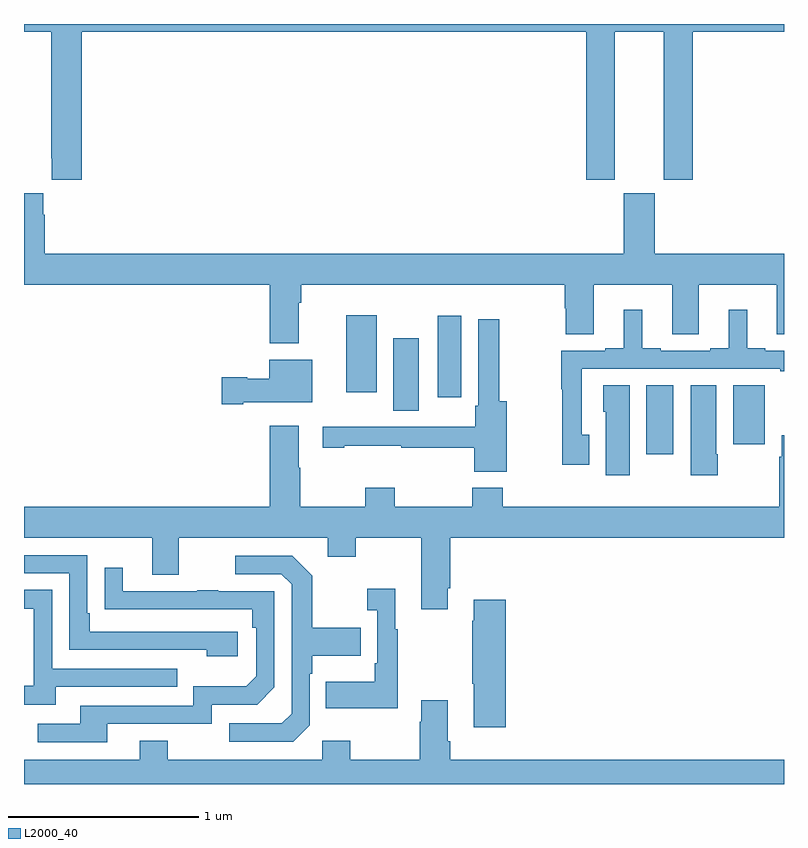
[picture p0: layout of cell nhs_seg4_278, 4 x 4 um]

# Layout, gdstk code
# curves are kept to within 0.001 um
import gdstk
lib = gdstk.Library(unit=1e-6, precision=1e-09)
def R(c, l, rs):  # rectangles x0, y0, x1, y1
    for r in rs: c.add(gdstk.rectangle(r[:2], r[2:], *l))
def P(c, l, *ps):  # polygons
    for p in ps: c.add(gdstk.Polygon(p, *l))
L2000_40 = (2000, 40)

nhs_seg4_278 = lib.new_cell('nhs_seg4_278')
R(nhs_seg4_278, L2000_40, [(128.276,754.635,128.416,755), (128.732,754.689,128.899,755), (126.944,754.864,127.078,755.245), (127.178,754.935,127.3,755.365), (126.695,754.962,126.856,755.368)])
P(nhs_seg4_278, L2000_40, [(125.303,756.86),(127.958,756.86),(127.958,756.081),(128.11,756.081),(128.11,756.86),(128.366,756.86),(128.366,756.081),(128.519,756.081),(128.519,756.86),(129,756.86),(129,756.9),(125,756.9),(125,756.86),(125.143,756.86),(125.143,756.193),(125.147,756.193),(125.147,756.081),(125.303,756.081)],
  [(125.108,755.897),(125.101,755.897),(125.101,756.01),(125,756.01),(125,755.528),(126.293,755.528),(126.293,755.219),(126.445,755.219),(126.445,755.432),(126.458,755.432),(126.458,755.528),(127.847,755.528),(127.847,755.403),(127.852,755.403),(127.852,755.266),(127.999,755.266),(127.999,755.528),(128.411,755.528),(128.411,755.266),(128.551,755.266),(128.551,755.528),(128.963,755.528),(128.963,755.266),(129,755.266),(129,755.692),(128.32,755.692),(128.32,756.009),(128.156,756.009),(128.156,755.692),(125.108,755.692)],
  [(127.975,754.737),(127.935,754.737),(127.935,755.085),(128.981,755.085),(128.981,755.073),(129,755.073),(129,755.181),(128.902,755.181),(128.902,755.194),(128.806,755.194),(128.806,755.395),(128.708,755.395),(128.708,755.194),(128.612,755.194),(128.612,755.181),(128.35,755.181),(128.35,755.194),(128.254,755.194),(128.254,755.395),(128.156,755.395),(128.156,755.194),(128.06,755.194),(128.06,755.181),(127.827,755.181),(127.827,754.978),(127.834,754.978),(127.834,754.581),(127.975,754.581)],
  [(127.54,754.915),(127.501,754.915),(127.501,755.347),(127.392,755.347),(127.392,754.89),(127.375,754.89),(127.375,754.78),(127.182,754.78),(127.182,754.779),(126.848,754.779),(126.848,754.781),(126.573,754.781),(126.573,754.671),(126.685,754.671),(126.685,754.681),(126.986,754.681),(126.986,754.671),(127.37,754.671),(127.37,754.544),(127.54,754.544)],
  [(126.154,754.91),(126.517,754.91),(126.517,755.134),(126.29,755.134),(126.29,755.032),(126.174,755.032),(126.174,755.04),(126.042,755.04),(126.042,754.898),(126.154,754.898)],
  [(128.188,755),(128.048,755),(128.048,754.86),(128.063,754.86),(128.063,754.524),(128.188,754.524)],
  [(128.652,754.636),(128.644,754.636),(128.644,755),(128.51,755),(128.51,754.524),(128.652,754.524)],
  [(127.231,753.931),(127.244,753.931),(127.244,754.196),(129,754.196),(129,754.735),(128.988,754.735),(128.988,754.622),(128.976,754.622),(128.976,754.36),(127.52,754.36),(127.52,754.459),(127.36,754.459),(127.36,754.36),(126.951,754.36),(126.951,754.459),(126.796,754.459),(126.796,754.36),(126.453,754.36),(126.453,754.565),(126.445,754.565),(126.445,754.786),(126.293,754.786),(126.293,754.36),(125,754.36),(125,754.196),(125.675,754.196),(125.675,754.002),(125.815,754.002),(125.815,754.196),(126.599,754.196),(126.599,754.097),(126.747,754.097),(126.747,754.196),(127.091,754.196),(127.091,753.819),(127.231,753.819)],
  [(126.124,753.702),(125.347,753.702),(125.347,753.799),(125.334,753.799),(125.334,754.104),(125,754.104),(125,754.008),(125.238,754.008),(125.238,753.606),(125.963,753.606),(125.963,753.572),(126.124,753.572)],
  [(126.504,753.21),(126.504,753.479),(126.517,753.479),(126.517,753.575),(126.773,753.575),(126.773,753.723),(126.517,753.723),(126.517,753.995),(126.411,754.101),(126.111,754.101),(126.111,754.005),(126.354,754.005),(126.408,753.951),(126.408,753.27),(126.357,753.219),(126.081,753.219),(126.081,753.123),(126.417,753.123)],
  [(125.437,753.216),(125.988,753.216),(125.988,753.318),(126.228,753.318),(126.318,753.408),(126.318,753.915),(126.023,753.915),(126.023,753.92),(125.911,753.92),(125.911,753.915),(125.521,753.915),(125.521,754.039),(125.425,754.039),(125.425,753.82),(126.202,753.819),(126.202,753.722),(126.222,753.722),(126.222,753.468),(126.169,753.415),(125.892,753.415),(125.892,753.312),(125.297,753.312),(125.297,753.216),(125.073,753.216),(125.073,753.12),(125.437,753.12)],
  [(126.967,753.715),(126.955,753.715),(126.955,753.928),(126.807,753.928),(126.807,753.815),(126.858,753.815),(126.858,753.535),(126.846,753.535),(126.846,753.439),(126.589,753.439),(126.589,753.299),(126.967,753.299)],
  [(125.167,753.411),(125.807,753.411),(125.807,753.507),(125.148,753.507),(125.148,753.923),(125,753.923),(125,753.822),(125.052,753.822),(125.052,753.417),(125,753.417),(125,753.317),(125.167,753.317)],
  [(127.535,753.871),(127.367,753.871),(127.367,753.758),(127.36,753.758),(127.36,753.427),(127.367,753.427),(127.367,753.2),(127.535,753.2)],
  [(129,753.028),(127.244,753.028),(127.244,753.124),(127.231,753.124),(127.231,753.34),(127.091,753.34),(127.091,753.227),(127.084,753.227),(127.084,753.028),(126.717,753.028),(126.717,753.127),(126.57,753.127),(126.57,753.028),(125.757,753.028),(125.757,753.127),(125.609,753.127),(125.609,753.028),(125,753.028),(125,752.9),(129,752.9)])

lib.write_gds('nhs_seg4_278.gds')
